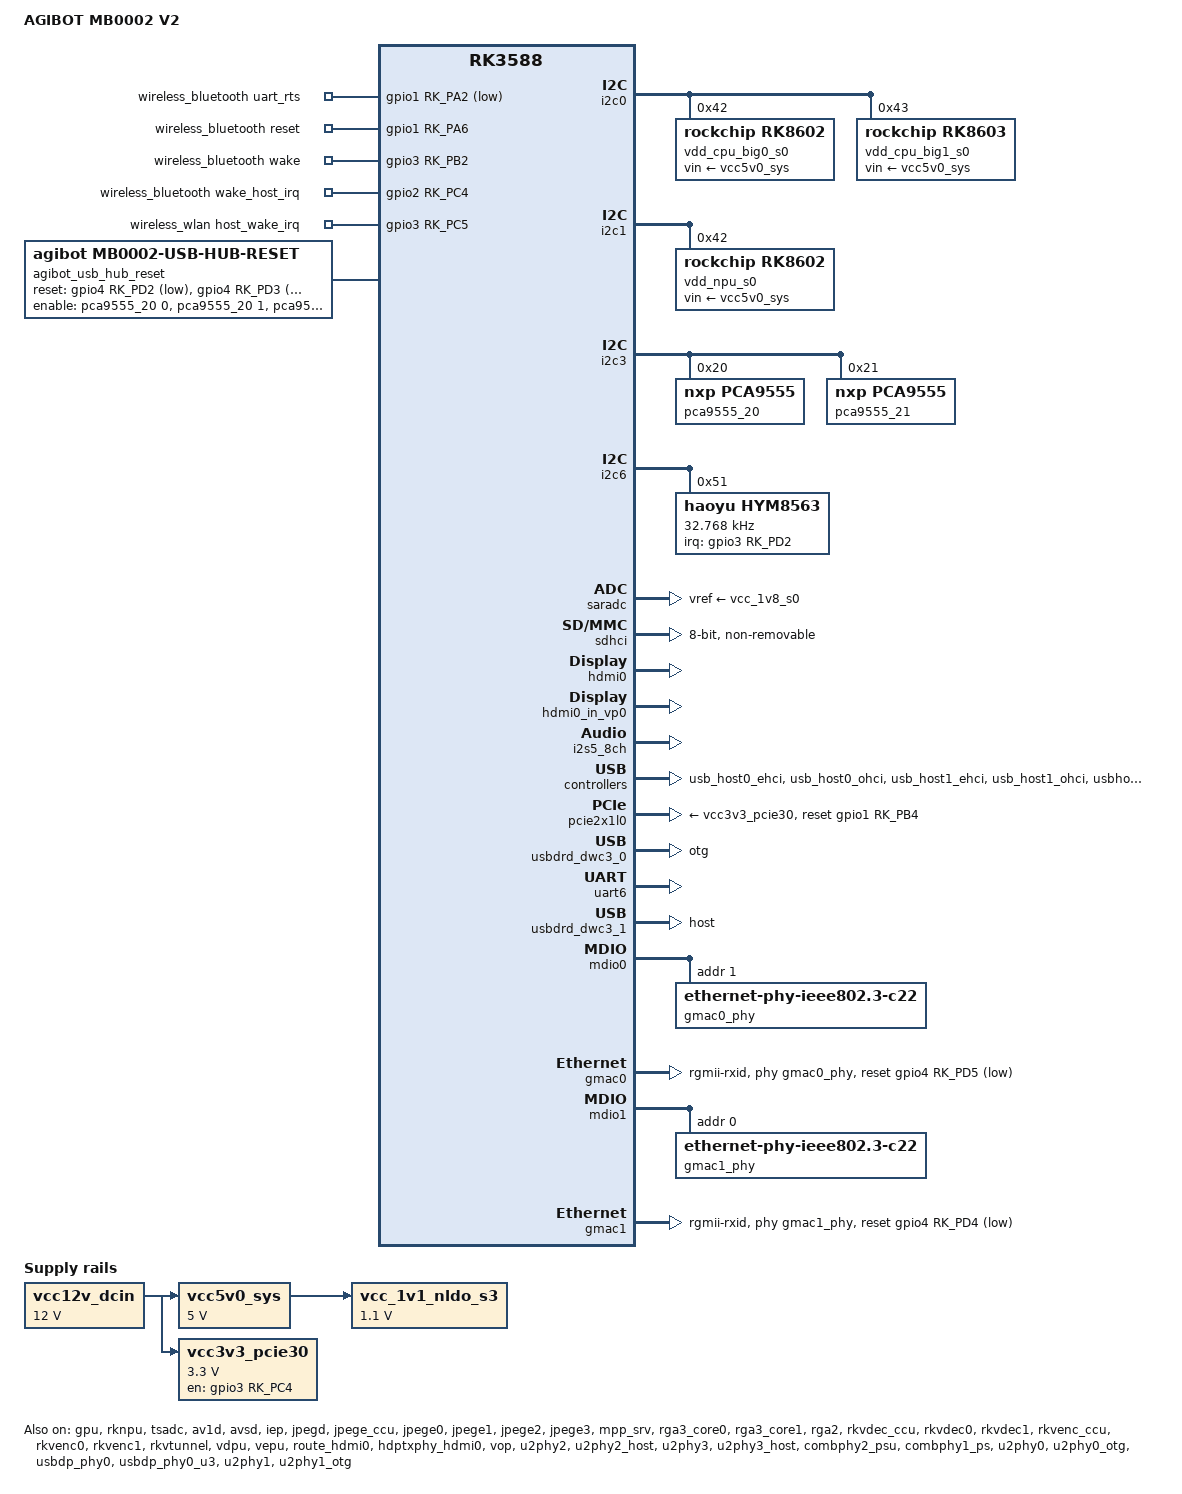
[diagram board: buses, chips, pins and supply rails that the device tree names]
// SPDX-License-Identifier: (GPL-2.0+ OR MIT)
/*
 * AGIBOT MB0002 V2 board device tree
 *
 * Phase 1 brings up eMMC, HDMI0, USB input, dual GMAC, console, and the
 * board's minimum power tree. The AP6275P wireless module, HYM8563 RTC, USB
 * hubs, and other validated board peripherals are enabled after their wiring
 * was checked against the vendor 5.10 device tree and Armbian/LEDE testing.
 */

/dts-v1/;

#include <dt-bindings/gpio/gpio.h>
#include <dt-bindings/pinctrl/rockchip.h>
#include "rk3588.dtsi"
#include "rk3588-android.dtsi"
#include "rk3588-rk806-single.dtsi"

/ {
	model = "AGIBOT MB0002 V2";
	compatible = "agibot,mb0002-v2", "rockchip,rk3588";

	chosen {
		bootargs = "earlycon=uart8250,mmio32,0xfeb50000 console=ttyFIQ0 irqchip.gicv3_pseudo_nmi=0";
	};

	vcc12v_dcin: vcc12v-dcin {
		compatible = "regulator-fixed";
		regulator-name = "vcc12v_dcin";
		regulator-always-on;
		regulator-boot-on;
		regulator-min-microvolt = <12000000>;
		regulator-max-microvolt = <12000000>;
	};

	vcc5v0_sys: vcc5v0-sys {
		compatible = "regulator-fixed";
		regulator-name = "vcc5v0_sys";
		regulator-always-on;
		regulator-boot-on;
		regulator-min-microvolt = <5000000>;
		regulator-max-microvolt = <5000000>;
		vin-supply = <&vcc12v_dcin>;
	};

	vcc_1v1_nldo_s3: vcc-1v1-nldo-s3 {
		compatible = "regulator-fixed";
		regulator-name = "vcc_1v1_nldo_s3";
		regulator-always-on;
		regulator-boot-on;
		regulator-min-microvolt = <1100000>;
		regulator-max-microvolt = <1100000>;
		vin-supply = <&vcc5v0_sys>;
	};

	vcc3v3_pcie30: vcc3v3-pcie30 {
		compatible = "regulator-fixed";
		regulator-name = "vcc3v3_pcie30";
		regulator-min-microvolt = <3300000>;
		regulator-max-microvolt = <3300000>;
		enable-active-high;
		gpios = <&gpio3 RK_PC4 GPIO_ACTIVE_HIGH>;
		startup-delay-us = <7500>;
		vin-supply = <&vcc12v_dcin>;
	};

	wireless_bluetooth: wireless-bluetooth {
		compatible = "bluetooth-platdata";
		clocks = <&hym8563>;
		clock-names = "ext_clock";
		uart_rts_gpios = <&gpio1 RK_PA2 GPIO_ACTIVE_LOW>;
		pinctrl-names = "default", "rts_gpio";
		pinctrl-0 = <&uart6m1_rtsn &bt_gpio>;
		pinctrl-1 = <&uart6_rts_gpio>;
		BT,reset_gpio = <&gpio1 RK_PA6 GPIO_ACTIVE_HIGH>;
		BT,wake_gpio = <&gpio3 RK_PB2 GPIO_ACTIVE_HIGH>;
		BT,wake_host_irq = <&gpio2 RK_PC4 GPIO_ACTIVE_HIGH>;
		status = "okay";
	};

	wireless_wlan: wireless-wlan {
		compatible = "wlan-platdata";
		wifi_chip_type = "ap6275p";
		pinctrl-names = "default";
		pinctrl-0 = <&wifi_host_wake_irq &wifi_poweren_gpio>;
		WIFI,host_wake_irq = <&gpio3 RK_PC5 GPIO_ACTIVE_HIGH>;
		status = "okay";
	};

	hdmi0_sound: hdmi0-sound {
		status = "okay";
		compatible = "rockchip,hdmi";
		rockchip,mclk-fs = <128>;
		rockchip,card-name = "rockchip-hdmi0";
		rockchip,cpu = <&i2s5_8ch>;
		rockchip,codec = <&hdmi0>;
		rockchip,jack-det;
	};

	agibot_usb_hub_reset: usb-hub-reset {
		compatible = "agibot,mb0002-usb-hub-reset";
		reset-gpios = <&gpio4 RK_PD2 GPIO_ACTIVE_LOW>,
			      <&gpio4 RK_PD3 GPIO_ACTIVE_LOW>;
		enable-gpios = <&pca9555_20 0 GPIO_ACTIVE_HIGH>,
			       <&pca9555_20 1 GPIO_ACTIVE_HIGH>,
			       <&pca9555_20 2 GPIO_ACTIVE_HIGH>,
			       <&pca9555_20 3 GPIO_ACTIVE_HIGH>,
			       <&pca9555_20 4 GPIO_ACTIVE_HIGH>,
			       <&pca9555_20 5 GPIO_ACTIVE_HIGH>,
			       <&pca9555_20 6 GPIO_ACTIVE_HIGH>,
			       <&pca9555_20 7 GPIO_ACTIVE_HIGH>,
			       <&pca9555_20 8 GPIO_ACTIVE_HIGH>,
			       <&pca9555_20 9 GPIO_ACTIVE_HIGH>,
			       <&pca9555_20 10 GPIO_ACTIVE_HIGH>,
			       <&pca9555_20 11 GPIO_ACTIVE_HIGH>;
		reset-assert-us = <20000>;
		power-on-delay-us = <100000>;
		reset-post-delay-us = <100000>;
		status = "okay";
	};
};

&cpu_l0 {
	cpu-supply = <&vdd_cpu_lit_s0>;
	mem-supply = <&vdd_cpu_lit_mem_s0>;
};

&cpu_b0 {
	cpu-supply = <&vdd_cpu_big0_s0>;
	mem-supply = <&vdd_cpu_big0_mem_s0>;
};

&cpu_b2 {
	cpu-supply = <&vdd_cpu_big1_s0>;
	mem-supply = <&vdd_cpu_big1_mem_s0>;
};

&gpu {
	mali-supply = <&vdd_gpu_s0>;
	mem-supply = <&vdd_gpu_mem_s0>;
	status = "okay";
};

&i2c0 {
	status = "okay";
	pinctrl-names = "default";
	pinctrl-0 = <&i2c0m2_xfer>;

	vdd_cpu_big0_s0: vdd_cpu_big0_mem_s0: rk8602@42 {
		compatible = "rockchip,rk8602";
		reg = <0x42>;
		vin-supply = <&vcc5v0_sys>;
		regulator-compatible = "rk860x-reg";
		regulator-name = "vdd_cpu_big0_s0";
		regulator-min-microvolt = <550000>;
		regulator-max-microvolt = <1050000>;
		regulator-ramp-delay = <2300>;
		rockchip,suspend-voltage-selector = <1>;
		regulator-boot-on;
		regulator-always-on;

		regulator-state-mem {
			regulator-off-in-suspend;
		};
	};

	vdd_cpu_big1_s0: vdd_cpu_big1_mem_s0: rk8603@43 {
		compatible = "rockchip,rk8603";
		reg = <0x43>;
		vin-supply = <&vcc5v0_sys>;
		regulator-compatible = "rk860x-reg";
		regulator-name = "vdd_cpu_big1_s0";
		regulator-min-microvolt = <550000>;
		regulator-max-microvolt = <1050000>;
		regulator-ramp-delay = <2300>;
		rockchip,suspend-voltage-selector = <1>;
		regulator-boot-on;
		regulator-always-on;

		regulator-state-mem {
			regulator-off-in-suspend;
		};
	};
};

&i2c1 {
	status = "okay";
	pinctrl-names = "default";
	pinctrl-0 = <&i2c1m2_xfer>;

	vdd_npu_s0: vdd_npu_mem_s0: rk8602@42 {
		compatible = "rockchip,rk8602";
		reg = <0x42>;
		vin-supply = <&vcc5v0_sys>;
		regulator-compatible = "rk860x-reg";
		regulator-name = "vdd_npu_s0";
		regulator-min-microvolt = <550000>;
		regulator-max-microvolt = <950000>;
		regulator-ramp-delay = <2300>;
		rockchip,suspend-voltage-selector = <1>;
		regulator-boot-on;
		regulator-always-on;

		regulator-state-mem {
			regulator-off-in-suspend;
		};
	};
};

&i2c3 {
	status = "okay";
	pinctrl-names = "default";
	pinctrl-0 = <&i2c3m4_xfer>;

	pca9555_20: pca9555@20 {
		compatible = "nxp,pca9555";
		reg = <0x20>;
		gpio-controller;
		#gpio-cells = <2>;
		status = "okay";
	};

	pca9555_21: pca9555@21 {
		compatible = "nxp,pca9555";
		reg = <0x21>;
		gpio-controller;
		#gpio-cells = <2>;
		status = "okay";
	};
};

&i2c6 {
	status = "okay";
	pinctrl-names = "default";
	pinctrl-0 = <&i2c6m0_xfer>;

	hym8563: rtc@51 {
		compatible = "haoyu,hym8563";
		reg = <0x51>;
		#clock-cells = <0>;
		clock-frequency = <32768>;
		clock-output-names = "hym8563";
		pinctrl-names = "default";
		pinctrl-0 = <&hym8563_int>;
		interrupt-parent = <&gpio3>;
		interrupts = <RK_PD2 IRQ_TYPE_LEVEL_LOW>;
		wakeup-source;
	};
};

&rknpu {
	rknpu-supply = <&vdd_npu_s0>;
	mem-supply = <&vdd_npu_mem_s0>;
	status = "okay";
};

&rknpu_mmu {
	status = "okay";
};

&saradc {
	status = "okay";
	vref-supply = <&vcc_1v8_s0>;
};

&tsadc {
	status = "okay";
};

&av1d {
	status = "okay";
};

&av1d_mmu {
	status = "okay";
};

&avsd {
	status = "okay";
};

&iep {
	status = "okay";
};

&iep_mmu {
	status = "okay";
};

&jpegd {
	status = "okay";
};

&jpegd_mmu {
	status = "okay";
};

&jpege_ccu {
	status = "okay";
};

&jpege0 {
	status = "okay";
};

&jpege0_mmu {
	status = "okay";
};

&jpege1 {
	status = "okay";
};

&jpege1_mmu {
	status = "okay";
};

&jpege2 {
	status = "okay";
};

&jpege2_mmu {
	status = "okay";
};

&jpege3 {
	status = "okay";
};

&jpege3_mmu {
	status = "okay";
};

&mpp_srv {
	status = "okay";
};

&rga3_core0 {
	status = "okay";
};

&rga3_0_mmu {
	status = "okay";
};

&rga3_core1 {
	status = "okay";
};

&rga3_1_mmu {
	status = "okay";
};

&rga2 {
	status = "okay";
};

&rkvdec_ccu {
	status = "okay";
};

&rkvdec0 {
	status = "okay";
};

&rkvdec0_mmu {
	status = "okay";
};

&rkvdec1 {
	status = "okay";
};

&rkvdec1_mmu {
	status = "okay";
};

&rkvenc_ccu {
	status = "okay";
};

&rkvenc0 {
	venc-supply = <&vdd_vdenc_s0>;
	mem-supply = <&vdd_vdenc_mem_s0>;
	status = "okay";
};

&rkvenc0_mmu {
	status = "okay";
};

&rkvenc1 {
	venc-supply = <&vdd_vdenc_s0>;
	mem-supply = <&vdd_vdenc_mem_s0>;
	status = "okay";
};

&rkvenc1_mmu {
	status = "okay";
};

&rkvtunnel {
	status = "okay";
};

&vdpu {
	status = "okay";
};

&vdpu_mmu {
	status = "okay";
};

&vepu {
	status = "okay";
};

&sdhci {
	bus-width = <8>;
	no-sdio;
	no-sd;
	non-removable;
	max-frequency = <200000000>;
	mmc-hs200-1_8v;
	mmc-hs400-1_8v;
	mmc-hs400-enhanced-strobe;
	status = "okay";
};

&hdmi0 {
	status = "okay";
	enable-gpios = <&gpio4 RK_PB1 GPIO_ACTIVE_HIGH>;
};

&hdmi0_in_vp0 {
	status = "okay";
};

&route_hdmi0 {
	status = "okay";
	connect = <&vp0_out_hdmi0>;
};

&hdptxphy_hdmi0 {
	status = "okay";
};

&i2s5_8ch {
	status = "okay";
};

&vop {
	status = "okay";
	vop-supply = <&vdd_log_s0>;
};

&vop_mmu {
	status = "okay";
};

&usb_host0_ehci {
	status = "okay";
};

&usb_host0_ohci {
	status = "okay";
};

&u2phy2 {
	status = "okay";
};

&u2phy2_host {
	status = "okay";
};

&usb_host1_ehci {
	status = "okay";
};

&usb_host1_ohci {
	status = "okay";
};

&u2phy3 {
	status = "okay";
};

&u2phy3_host {
	status = "okay";
};

&usbhost3_0 {
	status = "okay";
};

&usbhost_dwc3_0 {
	status = "okay";
};

&combphy2_psu {
	status = "okay";
};

&combphy1_ps {
	status = "okay";
};

&pcie2x1l0 {
	reset-gpios = <&gpio1 RK_PB4 GPIO_ACTIVE_HIGH>;
	vpcie3v3-supply = <&vcc3v3_pcie30>;
	status = "okay";
};

&u2phy0 {
	status = "okay";
};

&u2phy0_otg {
	status = "okay";
};

&usbdrd3_0 {
	status = "okay";
};

&usbdrd_dwc3_0 {
	dr_mode = "otg";
	extcon = <&u2phy0>;
	status = "okay";
};

&usbdp_phy0 {
	status = "okay";
};

&usbdp_phy0_u3 {
	status = "okay";
};

&u2phy1 {
	status = "okay";
};

&u2phy1_otg {
	status = "okay";
};

&usbdrd3_1 {
	status = "okay";
};

&uart6 {
	pinctrl-names = "default";
	pinctrl-0 = <&uart6m1_xfer>;
	status = "okay";
};

&pinctrl {
	wireless-bluetooth {
		uart6_rts_gpio: uart6-rts-gpio {
			rockchip,pins = <1 RK_PA2 RK_FUNC_GPIO &pcfg_pull_none>;
		};

		bt_gpio: bt-gpio {
			rockchip,pins = <1 RK_PA6 RK_FUNC_GPIO &pcfg_pull_none>,
					 <3 RK_PB2 RK_FUNC_GPIO &pcfg_pull_up>,
					 <2 RK_PC4 RK_FUNC_GPIO &pcfg_pull_down>;
		};
	};

	wireless-wlan {
		wifi_host_wake_irq: wifi-host-wake-irq {
			rockchip,pins = <3 RK_PC5 RK_FUNC_GPIO &pcfg_pull_down>;
		};

		wifi_poweren_gpio: wifi-poweren-gpio {
			rockchip,pins = <3 RK_PC4 RK_FUNC_GPIO &pcfg_pull_up>;
		};
	};

	hym8563 {
		hym8563_int: hym8563-int {
			rockchip,pins = <3 RK_PD2 RK_FUNC_GPIO &pcfg_pull_up>;
		};
	};
};

&usbdrd_dwc3_1 {
	dr_mode = "host";
	status = "okay";
};

&usbdp_phy1 {
	status = "okay";
};

&usbdp_phy1_u3 {
	status = "okay";
};

&mdio0 {
	gmac0_phy: ethernet-phy@1 {
		compatible = "ethernet-phy-ieee802.3-c22";
		reg = <0x1>;
	};
};

&gmac0 {
	status = "okay";
	phy-mode = "rgmii-rxid";
	clock_in_out = "input";
	snps,reset-gpio = <&gpio4 RK_PD5 GPIO_ACTIVE_LOW>;
	snps,reset-active-low;
	snps,reset-delays-us = <0 20000 100000>;
	pinctrl-names = "default";
	pinctrl-0 = <&gmac0_miim
		     &gmac0_clkinout
		     &gmac0_tx_bus2
		     &gmac0_rx_bus2
		     &gmac0_rgmii_clk
		     &gmac0_rgmii_bus>;
	tx_delay = <0x43>;
	phy-handle = <&gmac0_phy>;
};

&mdio1 {
	gmac1_phy: ethernet-phy@0 {
		compatible = "ethernet-phy-ieee802.3-c22";
		reg = <0x0>;
	};
};

&gmac1 {
	status = "okay";
	phy-mode = "rgmii-rxid";
	clock_in_out = "input";
	snps,reset-gpio = <&gpio4 RK_PD4 GPIO_ACTIVE_LOW>;
	snps,reset-active-low;
	snps,reset-delays-us = <0 20000 100000>;
	pinctrl-names = "default";
	pinctrl-0 = <&gmac1_miim
		     &gmac1_clkinout
		     &gmac1_tx_bus2
		     &gmac1_rx_bus2
		     &gmac1_rgmii_clk
		     &gmac1_rgmii_bus>;
	tx_delay = <0x42>;
	phy-handle = <&gmac1_phy>;
};
